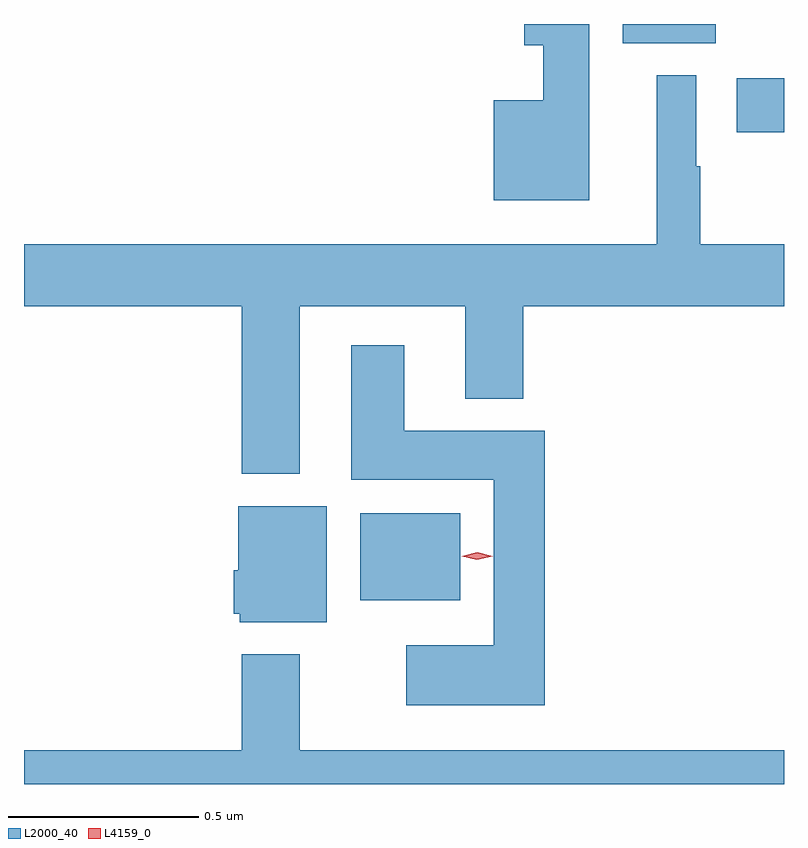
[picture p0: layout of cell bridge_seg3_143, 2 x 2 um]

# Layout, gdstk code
import gdstk
lib = gdstk.Library(unit=1e-6, precision=1e-09)
def R(c, l, rs):  # rectangles x0, y0, x1, y1
    for r in rs: c.add(gdstk.rectangle(r[:2], r[2:], *l))
def P(c, l, *ps):  # polygons
    for p in ps: c.add(gdstk.Polygon(p, *l))
L2000_40 = (2000, 40)
L4159_0 = (4159, 0)

bridge_seg3_143 = lib.new_cell('bridge_seg3_143')
R(bridge_seg3_143, L2000_40, [(353.933,697.478,354.196,697.708), (354.924,698.71,355.048,698.852), (354.623,698.945,354.868,698.995)])
P(bridge_seg3_143, L2000_40, [(354.535,698.995),(354.365,698.995),(354.365,698.939),(354.414,698.939),(354.414,698.794),(354.284,698.794),(354.284,698.531),(354.535,698.531)],
  [(353.773,698.252),(354.209,698.252),(354.209,698.009),(354.362,698.009),(354.362,698.252),(355.048,698.252),(355.048,698.416),(354.827,698.416),(354.827,698.621),(354.817,698.621),(354.817,698.86),(354.713,698.86),(354.713,698.416),(353.048,698.416),(353.048,698.252),(353.621,698.252),(353.621,697.811),(353.773,697.811)],
  [(354.419,697.924),(354.049,697.924),(354.049,698.149),(353.909,698.149),(353.909,697.796),(354.284,697.796),(354.284,697.36),(354.054,697.36),(354.054,697.202),(354.419,697.202)],
  [(353.845,697.726),(353.612,697.726),(353.612,697.557),(353.6,697.557),(353.6,697.443),(353.616,697.443),(353.616,697.421),(353.845,697.421)],
  [(355.048,697.084),(353.773,697.084),(353.773,697.336),(353.621,697.336),(353.621,697.084),(353.048,697.084),(353.048,696.995),(355.048,696.995)])
P(bridge_seg3_143, L4159_0, [(354.24,697.585),(354.2,697.595),(354.2,697.595),(354.2,697.595),(354.241,697.605),(354.281,697.594),(354.281,697.594),(354.281,697.594)])

lib.write_gds('bridge_seg3_143.gds')
